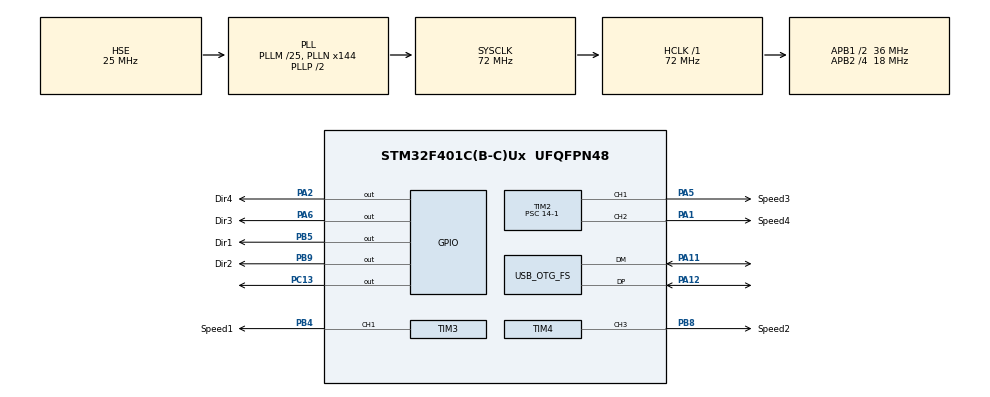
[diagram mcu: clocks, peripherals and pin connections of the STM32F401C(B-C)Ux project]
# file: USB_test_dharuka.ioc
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Mcu.Family=STM32F4
Mcu.Name=STM32F401C(B-C)Ux
Mcu.Package=UFQFPN48
NVIC.OTG_FS_IRQn=true\:0\:0\:false\:false\:true\:false\:true\:true
NVIC.PriorityGroup=NVIC_PRIORITYGROUP_4
PA1.GPIO_Label=Speed4
PA1.Signal=S_TIM2_CH2
PA11.Mode=Device_Only
PA11.Signal=USB_OTG_FS_DM
PA12.Mode=Device_Only
PA12.Signal=USB_OTG_FS_DP
PA2.GPIO_Label=Dir4
PA2.Signal=GPIO_Output
PA5.GPIO_Label=Speed3
PA5.Signal=S_TIM2_CH1_ETR
PA6.GPIO_Label=Dir3
PA6.Signal=GPIO_Output
PB4.GPIO_Label=Speed1
PB4.Signal=S_TIM3_CH1
PB5.GPIO_Label=Dir1
PB5.Signal=GPIO_Output
PB8.GPIO_Label=Speed2
PB8.Signal=S_TIM4_CH3
PB9.GPIO_Label=Dir2
PB9.Signal=GPIO_Output
PC13-ANTI_TAMP.Signal=GPIO_Output
PH0\ -\ OSC_IN.Mode=HSE-External-Oscillator
PH0\ -\ OSC_IN.Signal=RCC_OSC_IN
PH1\ -\ OSC_OUT.Mode=HSE-External-Oscillator
PH1\ -\ OSC_OUT.Signal=RCC_OSC_OUT
ProjectManager.HeapSize=0x200
ProjectManager.StackSize=0x400
ProjectManager.TargetToolchain=STM32CubeIDE
RCC.48MHZClocksFreq_Value=48000000
RCC.AHBFreq_Value=72000000
RCC.APB1CLKDivider=RCC_HCLK_DIV2
RCC.APB1Freq_Value=36000000
RCC.APB1TimFreq_Value=72000000
RCC.APB2CLKDivider=RCC_HCLK_DIV4
RCC.APB2Freq_Value=18000000
RCC.APB2TimFreq_Value=36000000
RCC.CortexFreq_Value=72000000
RCC.HCLKFreq_Value=72000000
RCC.HSE_VALUE=25000000
RCC.HSI_VALUE=16000000
RCC.LSE_VALUE=32768
RCC.PLLM=25
RCC.PLLN=144
RCC.PLLQ=3
RCC.SYSCLKFreq_VALUE=72000000
RCC.SYSCLKSource=RCC_SYSCLKSOURCE_PLLCLK
RCC.VCOOutputFreq_Value=144000000
SH.S_TIM2_CH1_ETR.0=TIM2_CH1,PWM Generation1 CH1
SH.S_TIM2_CH2.0=TIM2_CH2,PWM Generation2 CH2
SH.S_TIM3_CH1.0=TIM3_CH1,PWM Generation1 CH1
SH.S_TIM4_CH3.0=TIM4_CH3,PWM Generation3 CH3
TIM2.Channel-PWM\ Generation1\ CH1=TIM_CHANNEL_1
TIM2.Channel-PWM\ Generation2\ CH2=TIM_CHANNEL_2
TIM2.Period=255
TIM2.Prescaler=14-1
TIM3.Channel-PWM\ Generation1\ CH1=TIM_CHANNEL_1
TIM3.Period=255
TIM3.Prescaler=14-1
TIM4.Channel-PWM\ Generation3\ CH3=TIM_CHANNEL_3
TIM4.Period=255
TIM4.Prescaler=14-1
USB_DEVICE.CLASS_NAME_FS=CDC
USB_DEVICE.VirtualMode=Cdc
USB_DEVICE.VirtualModeFS=Cdc_FS
USB_OTG_FS.VirtualMode=Device_Only
VP_USB_DEVICE_VS_USB_DEVICE_CDC_FS.Mode=CDC_FS
board=custom

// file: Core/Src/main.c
/* USER CODE BEGIN Header */
/**
  ******************************************************************************
  * @file           : main.c
  * @brief          : Main program body
  ******************************************************************************
  * @attention
  *
  * Copyright (c) 2024 STMicroelectronics.
  * All rights reserved.
  *
  * This software is licensed under terms that can be found in the LICENSE file
  * in the root directory of this software component.
  * If no LICENSE file comes with this software, it is provided AS-IS.
  *
  ******************************************************************************
  */
/* USER CODE END Header */
#include "main.h"
#include "usb_device.h"

TIM_HandleTypeDef htim2;
TIM_HandleTypeDef htim3;
TIM_HandleTypeDef htim4;

/* USER CODE BEGIN PV */
uint8_t Buffer1[64];       // Buffer to get first packet of data
uint8_t Buffer2[64];       // Buffer to get second packet of data
uint8_t Buffer3[128];      // Buffer that holds the byteStream after combining
uint8_t id[16];            // array to id
uint8_t value1[16];        //array that stores speed of the motors
uint8_t value2[16];        // array that store the direction of the motor
uint8_t set=0;
uint8_t size=0;
uint8_t idx=14;            //First 14 bytes obtained are useless in pickle,directly starting from 15th byte
uint8_t nxt=0;             //used while adding respective values to the respective arrays
uint8_t j=0;
/* USER CODE END PV */

void SystemClock_Config(void);
static void MX_GPIO_Init(void);
static void MX_TIM2_Init(void);
static void MX_TIM3_Init(void);
static void MX_TIM4_Init(void);
/* USER CODE BEGIN PFP */
void USBRxHandler(uint8_t* buf,uint16_t len);
void Buffer_operation_strich(uint8_t *buf3,uint8_t *buf2,uint8_t *buf1);
uint8_t Buffer_trim_size(uint8_t *buf);
void filter_bytestream(uint8_t *buf);
void byte_stream_operation(uint8_t* buf);
/* USER CODE END PFP */

/* USER CODE BEGIN 0 */

// Once the data is recieved from USB this function is called.Open usbd_cdc_if.c file to check
void USBRxHandler(uint8_t* buf,uint16_t len){
	switch(set)
	{
	case(0):
			memset(Buffer1,0,64);
			memset(Buffer2,0,64);
			memcpy(Buffer1,buf,len);
			memset(buf,0,len);
			/* This value depicts the size of the format for 6 key-value pairs
			 * ,if it's less no need for extra buffer and if more increase the set value store new values in next*/
			if(Buffer1[3]<=53)
			{
				Buffer_operation_strich(Buffer3,Buffer2,Buffer1);
				size=Buffer_trim_size(Buffer3);
				byte_stream_operation(Buffer3);
				TIM3->CCR1=value1[0];
				HAL_GPIO_WritePin(GPIOB,GPIO_PIN_5,value2[0]);
				TIM4->CCR3=value1[1];
				HAL_GPIO_WritePin(GPIOB,GPIO_PIN_9,value2[1]);
				TIM2->CCR1=value1[2];
				HAL_GPIO_WritePin(GPIOA,GPIO_PIN_6,value2[2]);
				TIM2->CCR2=value1[3];
				HAL_GPIO_WritePin(GPIOA,GPIO_PIN_2,value2[3]);
				set=0;
				return;

			}
			set++;
			return;
	case(1):
			memset(Buffer2,0,64);
			memcpy(Buffer2,buf,len);
			memset(buf,0,len);
			memset(Buffer3,0,64);
			Buffer_operation_strich(Buffer3,Buffer2,Buffer1);
			size=Buffer_trim_size(Buffer3);
			byte_stream_operation(Buffer3);
			TIM3->CCR1=value1[0];
			HAL_GPIO_WritePin(GPIOB,GPIO_PIN_5,value2[0]);
			TIM4->CCR3=value1[1];
			HAL_GPIO_WritePin(GPIOB,GPIO_PIN_9,value2[1]);
			TIM2->CCR1=value1[2];
			HAL_GPIO_WritePin(GPIOA,GPIO_PIN_6,value2[2]);
			TIM2->CCR2=value1[3];
			HAL_GPIO_WritePin(GPIOA,GPIO_PIN_2,value2[3]);
			set=0;
			return;
	}
	return;
}
//function that takes first 64bytes from buffer1 and next 64 bytes from buffer2 and stores in buffer3
void Buffer_operation_strich(uint8_t *buf3,uint8_t *buf2,uint8_t *buf1)
{
	for(uint8_t i=0;i<64;i++)
	{
		buf3[i]=buf1[i];
	}
	for(uint8_t i=0;i<64;i++)
	{
		buf3[64+i]=buf2[i];
	}
}
// Function used to calculate the size of bytestream to start with the operation
uint8_t Buffer_trim_size(uint8_t *buf)
{
	for(j=0;j<128;j++)
	{
		if (buf[j]=='.' && buf[j+1]== 0)
		{
			break;
		}
	}
	return j-1;
}
// Function that takes out the values from the byte stream and puts in the respective arrays
void filter_bytestream(uint8_t *buf)
{
	memset(id,0,16);
	memset(value1,0,16);
	memset(value2,0,16);
	while(idx<size)
	{
			id[nxt]=buf[idx+1];
			value1[nxt]=buf[idx+3];
			value2[nxt]=buf[idx+5];
			idx+=8;
			nxt++;
	}
}

// Function that reinitialize all the values
void byte_stream_operation(uint8_t* buf)
{
	filter_bytestream(buf);
	nxt=0;
	idx=14;
	j=0;
}

/* USER CODE END 0 */

int main(void)
{

  /* MCU Configuration--------------------------------------------------------*/

  /* Reset of all peripherals, Initializes the Flash interface and the Systick. */
  HAL_Init();

  /* Configure the system clock */
  SystemClock_Config();

  /* Initialize all configured peripherals */
  MX_GPIO_Init();
  MX_TIM2_Init();
  MX_TIM3_Init();
  MX_TIM4_Init();
  MX_USB_DEVICE_Init();
  /* USER CODE BEGIN 2 */

  // starting and providing  the respective PWM signals to the Drivers
  HAL_TIM_PWM_Start(&htim3,TIM_CHANNEL_1);
  HAL_TIM_PWM_Start(&htim4,TIM_CHANNEL_3);
  HAL_TIM_PWM_Start(&htim2,TIM_CHANNEL_1);
  HAL_TIM_PWM_Start(&htim2,TIM_CHANNEL_2);

  /* USER CODE END 2 */

  /* Infinite loop */
  while (1)
  {

    /* USER CODE BEGIN 3 */
	  HAL_Delay(10);
  }
  /* USER CODE END 3 */
}

void SystemClock_Config(void)
{
  RCC_OscInitTypeDef RCC_OscInitStruct = {0};
  RCC_ClkInitTypeDef RCC_ClkInitStruct = {0};

  /** Configure the main internal regulator output voltage
  */
  __HAL_RCC_PWR_CLK_ENABLE();
  __HAL_PWR_VOLTAGESCALING_CONFIG(PWR_REGULATOR_VOLTAGE_SCALE2);

  /** Initializes the RCC Oscillators according to the specified parameters
  * in the RCC_OscInitTypeDef structure.
  */
  RCC_OscInitStruct.OscillatorType = RCC_OSCILLATORTYPE_HSE;
  RCC_OscInitStruct.HSEState = RCC_HSE_ON;
  RCC_OscInitStruct.PLL.PLLState = RCC_PLL_ON;
  RCC_OscInitStruct.PLL.PLLSource = RCC_PLLSOURCE_HSE;
  RCC_OscInitStruct.PLL.PLLM = 25;
  RCC_OscInitStruct.PLL.PLLN = 144;
  RCC_OscInitStruct.PLL.PLLP = RCC_PLLP_DIV2;
  RCC_OscInitStruct.PLL.PLLQ = 3;
  if (HAL_RCC_OscConfig(&RCC_OscInitStruct) != HAL_OK)
  {
    Error_Handler();
  }

  /** Initializes the CPU, AHB and APB buses clocks
  */
  RCC_ClkInitStruct.ClockType = RCC_CLOCKTYPE_HCLK|RCC_CLOCKTYPE_SYSCLK
                              |RCC_CLOCKTYPE_PCLK1|RCC_CLOCKTYPE_PCLK2;
  RCC_ClkInitStruct.SYSCLKSource = RCC_SYSCLKSOURCE_PLLCLK;
  RCC_ClkInitStruct.AHBCLKDivider = RCC_SYSCLK_DIV1;
  RCC_ClkInitStruct.APB1CLKDivider = RCC_HCLK_DIV2;
  RCC_ClkInitStruct.APB2CLKDivider = RCC_HCLK_DIV4;

  if (HAL_RCC_ClockConfig(&RCC_ClkInitStruct, FLASH_LATENCY_2) != HAL_OK)
  {
    Error_Handler();
  }
}

static void MX_TIM2_Init(void)
{

  TIM_MasterConfigTypeDef sMasterConfig = {0};
  TIM_OC_InitTypeDef sConfigOC = {0};

  htim2.Instance = TIM2;
  htim2.Init.Prescaler = 14-1;
  htim2.Init.CounterMode = TIM_COUNTERMODE_UP;
  htim2.Init.Period = 255;
  htim2.Init.ClockDivision = TIM_CLOCKDIVISION_DIV1;
  htim2.Init.AutoReloadPreload = TIM_AUTORELOAD_PRELOAD_DISABLE;
  if (HAL_TIM_PWM_Init(&htim2) != HAL_OK)
  {
    Error_Handler();
  }
  sMasterConfig.MasterOutputTrigger = TIM_TRGO_RESET;
  sMasterConfig.MasterSlaveMode = TIM_MASTERSLAVEMODE_DISABLE;
  if (HAL_TIMEx_MasterConfigSynchronization(&htim2, &sMasterConfig) != HAL_OK)
  {
    Error_Handler();
  }
  sConfigOC.OCMode = TIM_OCMODE_PWM1;
  sConfigOC.Pulse = 0;
  sConfigOC.OCPolarity = TIM_OCPOLARITY_HIGH;
  sConfigOC.OCFastMode = TIM_OCFAST_DISABLE;
  if (HAL_TIM_PWM_ConfigChannel(&htim2, &sConfigOC, TIM_CHANNEL_1) != HAL_OK)
  {
    Error_Handler();
  }
  if (HAL_TIM_PWM_ConfigChannel(&htim2, &sConfigOC, TIM_CHANNEL_2) != HAL_OK)
  {
    Error_Handler();
  }
  HAL_TIM_MspPostInit(&htim2);

}

static void MX_TIM3_Init(void)
{

  TIM_MasterConfigTypeDef sMasterConfig = {0};
  TIM_OC_InitTypeDef sConfigOC = {0};

  htim3.Instance = TIM3;
  htim3.Init.Prescaler = 14-1;
  htim3.Init.CounterMode = TIM_COUNTERMODE_UP;
  htim3.Init.Period = 255;
  htim3.Init.ClockDivision = TIM_CLOCKDIVISION_DIV1;
  htim3.Init.AutoReloadPreload = TIM_AUTORELOAD_PRELOAD_DISABLE;
  if (HAL_TIM_PWM_Init(&htim3) != HAL_OK)
  {
    Error_Handler();
  }
  sMasterConfig.MasterOutputTrigger = TIM_TRGO_RESET;
  sMasterConfig.MasterSlaveMode = TIM_MASTERSLAVEMODE_DISABLE;
  if (HAL_TIMEx_MasterConfigSynchronization(&htim3, &sMasterConfig) != HAL_OK)
  {
    Error_Handler();
  }
  sConfigOC.OCMode = TIM_OCMODE_PWM1;
  sConfigOC.Pulse = 0;
  sConfigOC.OCPolarity = TIM_OCPOLARITY_HIGH;
  sConfigOC.OCFastMode = TIM_OCFAST_DISABLE;
  if (HAL_TIM_PWM_ConfigChannel(&htim3, &sConfigOC, TIM_CHANNEL_1) != HAL_OK)
  {
    Error_Handler();
  }
  HAL_TIM_MspPostInit(&htim3);

}

static void MX_TIM4_Init(void)
{

  TIM_MasterConfigTypeDef sMasterConfig = {0};
  TIM_OC_InitTypeDef sConfigOC = {0};

  htim4.Instance = TIM4;
  htim4.Init.Prescaler = 14-1;
  htim4.Init.CounterMode = TIM_COUNTERMODE_UP;
  htim4.Init.Period = 255;
  htim4.Init.ClockDivision = TIM_CLOCKDIVISION_DIV1;
  htim4.Init.AutoReloadPreload = TIM_AUTORELOAD_PRELOAD_DISABLE;
  if (HAL_TIM_PWM_Init(&htim4) != HAL_OK)
  {
    Error_Handler();
  }
  sMasterConfig.MasterOutputTrigger = TIM_TRGO_RESET;
  sMasterConfig.MasterSlaveMode = TIM_MASTERSLAVEMODE_DISABLE;
  if (HAL_TIMEx_MasterConfigSynchronization(&htim4, &sMasterConfig) != HAL_OK)
  {
    Error_Handler();
  }
  sConfigOC.OCMode = TIM_OCMODE_PWM1;
  sConfigOC.Pulse = 0;
  sConfigOC.OCPolarity = TIM_OCPOLARITY_HIGH;
  sConfigOC.OCFastMode = TIM_OCFAST_DISABLE;
  if (HAL_TIM_PWM_ConfigChannel(&htim4, &sConfigOC, TIM_CHANNEL_3) != HAL_OK)
  {
    Error_Handler();
  }
  HAL_TIM_MspPostInit(&htim4);

}

static void MX_GPIO_Init(void)
{
  GPIO_InitTypeDef GPIO_InitStruct = {0};

  /* GPIO Ports Clock Enable */
  __HAL_RCC_GPIOC_CLK_ENABLE();
  __HAL_RCC_GPIOH_CLK_ENABLE();
  __HAL_RCC_GPIOA_CLK_ENABLE();
  __HAL_RCC_GPIOB_CLK_ENABLE();

  /*Configure GPIO pin Output Level */
  HAL_GPIO_WritePin(GPIOC, GPIO_PIN_13, GPIO_PIN_RESET);

  /*Configure GPIO pin Output Level */
  HAL_GPIO_WritePin(GPIOA, Dir4_Pin|Dir3_Pin, GPIO_PIN_RESET);

  /*Configure GPIO pin Output Level */
  HAL_GPIO_WritePin(GPIOB, Dir1_Pin|Dir2_Pin, GPIO_PIN_RESET);

  /*Configure GPIO pin : PC13 */
  GPIO_InitStruct.Pin = GPIO_PIN_13;
  GPIO_InitStruct.Mode = GPIO_MODE_OUTPUT_PP;
  GPIO_InitStruct.Pull = GPIO_NOPULL;
  GPIO_InitStruct.Speed = GPIO_SPEED_FREQ_LOW;
  HAL_GPIO_Init(GPIOC, &GPIO_InitStruct);

  /*Configure GPIO pins : Dir4_Pin Dir3_Pin */
  GPIO_InitStruct.Pin = Dir4_Pin|Dir3_Pin;
  GPIO_InitStruct.Mode = GPIO_MODE_OUTPUT_PP;
  GPIO_InitStruct.Pull = GPIO_NOPULL;
  GPIO_InitStruct.Speed = GPIO_SPEED_FREQ_LOW;
  HAL_GPIO_Init(GPIOA, &GPIO_InitStruct);

  /*Configure GPIO pins : Dir1_Pin Dir2_Pin */
  GPIO_InitStruct.Pin = Dir1_Pin|Dir2_Pin;
  GPIO_InitStruct.Mode = GPIO_MODE_OUTPUT_PP;
  GPIO_InitStruct.Pull = GPIO_NOPULL;
  GPIO_InitStruct.Speed = GPIO_SPEED_FREQ_LOW;
  HAL_GPIO_Init(GPIOB, &GPIO_InitStruct);

}

void Error_Handler(void)
{
  __disable_irq();
  while (1)
  {
  }
}
